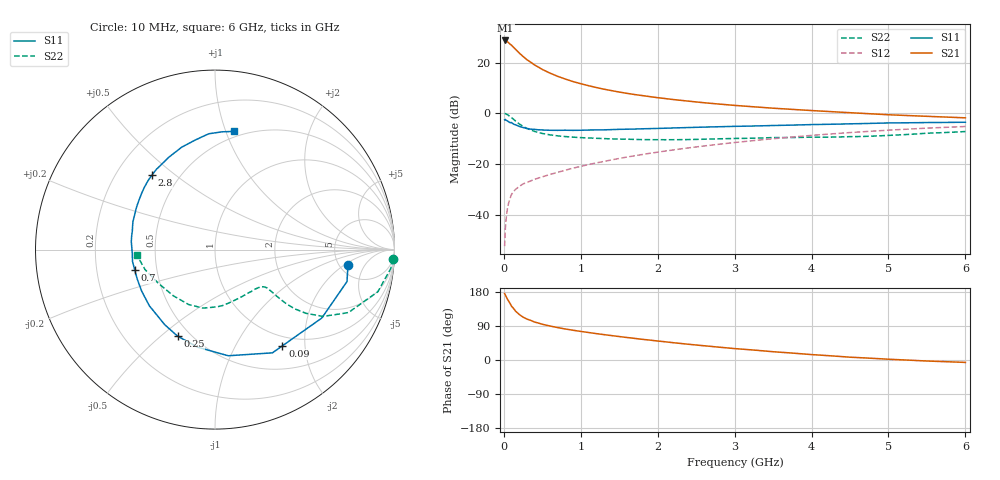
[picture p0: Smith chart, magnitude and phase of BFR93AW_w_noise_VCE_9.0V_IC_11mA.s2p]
! Infineon Technologies  Discrete & RF Semiconductors
! BFR93AW
! VCE =  9.0 V,  IC =  11 mA
! Common Emitter S-Parameters:  Jan 2017
# GHz  S  MA  R  50
!  f  S11  S21  S12  S22
! GHz  MAG  ANG  MAG  ANG  MAG  ANG  MAG  ANG
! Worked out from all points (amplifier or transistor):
!   77 points, 10 MHz to 6 GHz, reference 50 ohm
!   highest |S21| = 28.7 dB at 20 MHz (marker M1)
!   |S21| within 3 dB of that: start of sweep to 136 MHz
!   unconditionally stable (mu >= 1): 856.1 MHz to 2.097 GHz
!   at 130 MHz: K = 0.31, MSG = 28.4 dB, |S12| = -30.8 dB
!   at 2.2 GHz: K = 0.99, MSG = 9.9 dB, |S12| = -14.5 dB
!   at 6 GHz: K = 0.85, MSG = 1.7 dB, |S12| = -5.2 dB
!   lowest NFmin = 1.26 dB at 450 MHz
!   S11 on the Smith chart (normalised r, x): 10 MHz: 5.91, -2.36; 90 MHz: 0.84, -1.58; 250 MHz: 0.43, -0.57; 700 MHz: 0.37, -0.11; 2.8 GHz: 0.35, +0.41; 6 GHz: 0.45, +1.07
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0.01  0.7461 -6.8  27.14 175.3  0.0024 83.0  0.9924 -3.0
0.02  0.7566 -13.6  27.35 171.2  0.0054 87.7  0.9845 -6.2
0.05  0.7065 -32.7  25.61 159.1  0.0142 75.2  0.9375 -14.5
0.09  0.6546 -55.0  22.6 145.9  0.023 66.9  0.8431 -22.8
0.1  0.6583 -60.9  22.07 142.1  0.0252 65.7  0.8227 -25.2
0.15  0.596 -82.9  18.45 129.4  0.0315 57.6  0.7089 -31.7
0.2  0.5525 -100.0  15.48 120.2  0.036 54.9  0.619 -35.0
0.25  0.5253 -113.4  13.22 113.1  0.0406 52.9  0.5535 -36.6
0.3  0.5035 -123.8  11.43 108.0  0.0432 52.4  0.5025 -37.2
0.4  0.4815 -139.4  8.976 100.1  0.05 54.2  0.4387 -37.1
0.5  0.4695 -150.5  7.333 94.3  0.0559 55.6  0.4004 -36.7
0.6  0.4634 -159.0  6.208 89.6  0.0623 57.6  0.376 -36.5
0.7  0.4614 -165.7  5.366 85.6  0.0686 59.7  0.3594 -36.4
0.9  0.4612 -176.9  4.225 78.5  0.0829 62.0  0.339 -37.7
1.1  0.4685 174.5  3.507 72.6  0.0977 64.1  0.3269 -39.9
1.5  0.4831 161.1  2.627 61.9  0.1289 65.7  0.3101 -46.8
2.1  0.5086 145.2  1.952 48.0  0.1804 64.7  0.3015 -62.1
2.8  0.5439 130.3  1.521 33.8  0.2458 61.1  0.3148 -82.4
3.1  0.5566 124.2  1.397 28.6  0.2752 58.7  0.3204 -90.7
4.1  0.6031 106.4  1.113 13.0  0.3768 49.4  0.3386 -119.0
5.1  0.6478 91.8  0.924 1.1  0.474 38.0  0.3728 -152.5
6  0.6669 80.8  0.815 -6.4  0.5498 27.1  0.4372 -176.1
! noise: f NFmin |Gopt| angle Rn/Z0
0.45  1.26  0.12  111  0.13
0.9  1.57  0.23  157  0.14
1.9  2.62  0.47  -146  0.18
2.4  3.24  0.54  -130  0.37
